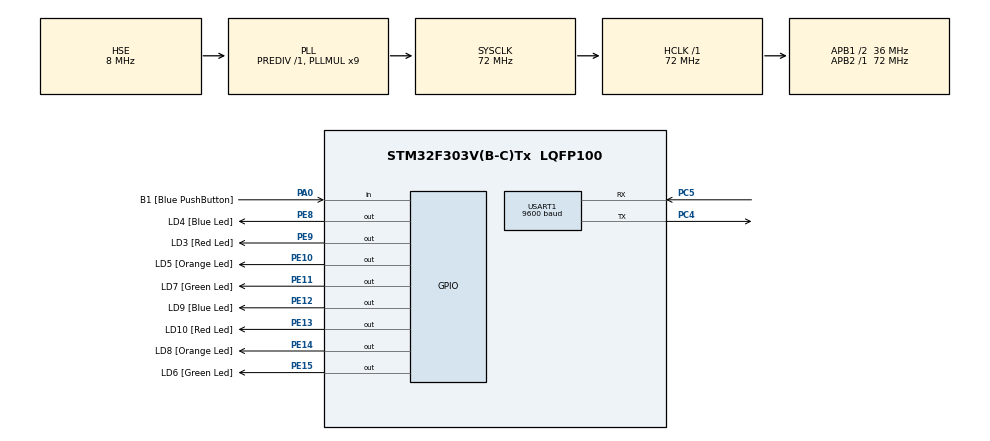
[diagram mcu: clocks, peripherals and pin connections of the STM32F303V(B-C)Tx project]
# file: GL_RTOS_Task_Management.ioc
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Dma.Request0=USART1_TX
Dma.USART1_TX.0.Direction=DMA_MEMORY_TO_PERIPH
Dma.USART1_TX.0.Instance=DMA1_Channel4
Dma.USART1_TX.0.MemDataAlignment=DMA_MDATAALIGN_BYTE
Dma.USART1_TX.0.MemInc=DMA_MINC_ENABLE
Dma.USART1_TX.0.Mode=DMA_NORMAL
Dma.USART1_TX.0.PeriphDataAlignment=DMA_PDATAALIGN_BYTE
Dma.USART1_TX.0.PeriphInc=DMA_PINC_DISABLE
Dma.USART1_TX.0.Priority=DMA_PRIORITY_LOW
FREERTOS.Tasks01=defaultTask,24,128,StartDefaultTask,Default,NULL,Dynamic,NULL,NULL;myT2_GreenLed,8,128,StartT2_GreenLed,Default,NULL,Dynamic,NULL,NULL;myT3_PushButton,8,128,StartT3_PushButton,Default,NULL,Dynamic,NULL,NULL;myT4_OrangeLed,8,128,StartT4_OrangeLed,Default,NULL,Dynamic,NULL,NULL
Mcu.Family=STM32F3
Mcu.Name=STM32F303V(B-C)Tx
Mcu.Package=LQFP100
NVIC.DMA1_Channel4_IRQn=true\:5\:0\:false\:false\:true\:true\:false\:true
NVIC.PriorityGroup=NVIC_PRIORITYGROUP_4
NVIC.TIM7_IRQn=true\:0\:0\:false\:false\:true\:false\:false\:true
NVIC.TimeBase=TIM7_IRQn
NVIC.TimeBaseIP=TIM7
NVIC.USART1_IRQn=true\:5\:0\:false\:false\:true\:true\:true\:true
PA0.GPIO_Label=B1 [Blue PushButton]
PA0.Signal=GPIO_Input
PC4.Mode=Asynchronous
PC4.Signal=USART1_TX
PC5.Mode=Asynchronous
PC5.Signal=USART1_RX
PE10.GPIO_Label=LD5 [Orange Led]
PE10.Signal=GPIO_Output
PE11.GPIO_Label=LD7 [Green Led]
PE11.Signal=GPIO_Output
PE12.GPIO_Label=LD9 [Blue Led]
PE12.Signal=GPIO_Output
PE13.GPIO_Label=LD10 [Red Led]
PE13.Signal=GPIO_Output
PE14.GPIO_Label=LD8 [Orange Led]
PE14.Signal=GPIO_Output
PE15.GPIO_Label=LD6 [Green Led]
PE15.Signal=GPIO_Output
PE8.GPIO_Label=LD4 [Blue Led]
PE8.Signal=GPIO_Output
PE9.GPIO_Label=LD3 [Red Led]
PE9.Signal=GPIO_Output
PF0-OSC_IN.Mode=HSE-External-Oscillator
PF0-OSC_IN.Signal=RCC_OSC_IN
PF1-OSC_OUT.Mode=HSE-External-Oscillator
PF1-OSC_OUT.Signal=RCC_OSC_OUT
ProjectManager.HeapSize=0x200
ProjectManager.StackSize=0x400
ProjectManager.TargetToolchain=MDK-ARM V5.27
RCC.AHBFreq_Value=72000000
RCC.APB1CLKDivider=RCC_HCLK_DIV2
RCC.APB1Freq_Value=36000000
RCC.APB1TimFreq_Value=72000000
RCC.APB2Freq_Value=72000000
RCC.APB2TimFreq_Value=72000000
RCC.CortexFreq_Value=72000000
RCC.HCLKFreq_Value=72000000
RCC.HSE_VALUE=8000000
RCC.HSI_VALUE=8000000
RCC.LSE_VALUE=32768
RCC.PLLMUL=RCC_PLL_MUL9
RCC.PLLSourceVirtual=RCC_PLLSOURCE_HSE
RCC.SYSCLKFreq_VALUE=72000000
RCC.SYSCLKSourceVirtual=RCC_SYSCLKSOURCE_PLLCLK
RCC.USBFreq_Value=72000000
USART1.BaudRate=9600
USART1.VirtualMode-Asynchronous=VM_ASYNC
VP_FREERTOS_VS_CMSIS_V2.Mode=CMSIS_V2
VP_SYS_VS_tim7.Mode=TIM7
board=STM32F3DISCOVERY

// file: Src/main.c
/* USER CODE BEGIN Header */
/**
  ******************************************************************************
  * @file           : main.c
  * @brief          : Main program body
  ******************************************************************************
  * @attention
  *
  * <h2><center>&copy; Copyright (c) 2020 STMicroelectronics.
  * All rights reserved.</center></h2>
  *
  * This software component is licensed by ST under BSD 3-Clause license,
  * the "License"; You may not use this file except in compliance with the
  * License. You may obtain a copy of the License at:
  *                        opensource.org/licenses/BSD-3-Clause
  *
  ******************************************************************************
  */
/* USER CODE END Header */

#include "main.h"
#include "cmsis_os.h"

/* USER CODE BEGIN Includes */
#include "task.h"                       // ARM.FreeRTOS::RTOS:Core
/* USER CODE END Includes */

/* USER CODE BEGIN PD */
uint8_t buffTx[256];
uint16_t len, i;
/* USER CODE END PD */

UART_HandleTypeDef huart1;
DMA_HandleTypeDef hdma_usart1_tx;

osThreadId_t defaultTaskHandle;
osThreadId_t myT2_GreenLedHandle;
osThreadId_t myT3_PushButtonHandle;
osThreadId_t myT4_OrangeLedHandle;

void SystemClock_Config(void);
static void MX_GPIO_Init(void);
static void MX_DMA_Init(void);
static void MX_USART1_UART_Init(void);
void StartDefaultTask(void *argument);
void StartT2_GreenLed(void *argument);
void StartT3_PushButton(void *argument);
void StartT4_OrangeLed(void *argument);

/* USER CODE BEGIN PFP */

/* To use the HOOK function macross configUSE_IDLE_HOOK need to be set '1' in FreeRTOSConfig.h file */
void vApplicationIdleHook( void );

/* USER CODE END PFP */

int main(void)
{

  /* MCU Configuration--------------------------------------------------------*/

  /* Reset of all peripherals, Initializes the Flash interface and the Systick. */
  HAL_Init();

  /* Configure the system clock */
  SystemClock_Config();

  /* Initialize all configured peripherals */
  MX_GPIO_Init();
  MX_DMA_Init();
  MX_USART1_UART_Init();

  osKernelInitialize();

  /* Create the thread(s) */
  /* definition and creation of defaultTask */
//  const osThreadAttr_t defaultTask_attributes = {
//    .name = "defaultTask",
//    .priority = (osPriority_t) osPriorityNormal,
//    .stack_size = 128
//  };
//  defaultTaskHandle = osThreadNew(StartDefaultTask, NULL, &defaultTask_attributes);

  /* definition and creation of myT2_GreenLed */
//  const osThreadAttr_t myT2_GreenLed_attributes = {
//    .name = "myT2_GreenLed",
//    .priority = (osPriority_t) osPriorityLow1,
//    .stack_size = 128
//  };
//  myT2_GreenLedHandle = osThreadNew(StartT2_GreenLed, NULL, &myT2_GreenLed_attributes);

  /* definition and creation of myT3_PushButton */
  const osThreadAttr_t myT3_PushButton_attributes = {
    .name = "myT3_PushButton",
    .priority = (osPriority_t) osPriorityLow1,
    .stack_size = 128
  };
  myT3_PushButtonHandle = osThreadNew(StartT3_PushButton, NULL, &myT3_PushButton_attributes);

  /* Start scheduler */
  osKernelStart();

  /* We should never get here as control is now taken by the scheduler */

  /* Infinite loop */
  while (1)
  {

  }
}

void SystemClock_Config(void)
{
  RCC_OscInitTypeDef RCC_OscInitStruct = {0};
  RCC_ClkInitTypeDef RCC_ClkInitStruct = {0};
  RCC_PeriphCLKInitTypeDef PeriphClkInit = {0};

  /** Initializes the CPU, AHB and APB busses clocks
  */
  RCC_OscInitStruct.OscillatorType = RCC_OSCILLATORTYPE_HSE;
  RCC_OscInitStruct.HSEState = RCC_HSE_ON;
  RCC_OscInitStruct.HSEPredivValue = RCC_HSE_PREDIV_DIV1;
  RCC_OscInitStruct.HSIState = RCC_HSI_ON;
  RCC_OscInitStruct.PLL.PLLState = RCC_PLL_ON;
  RCC_OscInitStruct.PLL.PLLSource = RCC_PLLSOURCE_HSE;
  RCC_OscInitStruct.PLL.PLLMUL = RCC_PLL_MUL9;
  if (HAL_RCC_OscConfig(&RCC_OscInitStruct) != HAL_OK)
  {
    Error_Handler();
  }
  /** Initializes the CPU, AHB and APB busses clocks
  */
  RCC_ClkInitStruct.ClockType = RCC_CLOCKTYPE_HCLK|RCC_CLOCKTYPE_SYSCLK
                              |RCC_CLOCKTYPE_PCLK1|RCC_CLOCKTYPE_PCLK2;
  RCC_ClkInitStruct.SYSCLKSource = RCC_SYSCLKSOURCE_PLLCLK;
  RCC_ClkInitStruct.AHBCLKDivider = RCC_SYSCLK_DIV1;
  RCC_ClkInitStruct.APB1CLKDivider = RCC_HCLK_DIV2;
  RCC_ClkInitStruct.APB2CLKDivider = RCC_HCLK_DIV1;

  if (HAL_RCC_ClockConfig(&RCC_ClkInitStruct, FLASH_LATENCY_2) != HAL_OK)
  {
    Error_Handler();
  }
  PeriphClkInit.PeriphClockSelection = RCC_PERIPHCLK_USART1;
  PeriphClkInit.Usart1ClockSelection = RCC_USART1CLKSOURCE_PCLK2;
  if (HAL_RCCEx_PeriphCLKConfig(&PeriphClkInit) != HAL_OK)
  {
    Error_Handler();
  }
}

static void MX_USART1_UART_Init(void)
{

  huart1.Instance = USART1;
  huart1.Init.BaudRate = 9600;
  huart1.Init.WordLength = UART_WORDLENGTH_8B;
  huart1.Init.StopBits = UART_STOPBITS_1;
  huart1.Init.Parity = UART_PARITY_NONE;
  huart1.Init.Mode = UART_MODE_TX_RX;
  huart1.Init.HwFlowCtl = UART_HWCONTROL_NONE;
  huart1.Init.OverSampling = UART_OVERSAMPLING_16;
  huart1.Init.OneBitSampling = UART_ONE_BIT_SAMPLE_DISABLE;
  huart1.AdvancedInit.AdvFeatureInit = UART_ADVFEATURE_NO_INIT;
  if (HAL_UART_Init(&huart1) != HAL_OK)
  {
    Error_Handler();
  }

}

static void MX_DMA_Init(void)
{

  /* DMA controller clock enable */
  __HAL_RCC_DMA1_CLK_ENABLE();

  /* DMA interrupt init */
  /* DMA1_Channel4_IRQn interrupt configuration */
  HAL_NVIC_SetPriority(DMA1_Channel4_IRQn, 5, 0);
  HAL_NVIC_EnableIRQ(DMA1_Channel4_IRQn);

}

static void MX_GPIO_Init(void)
{
  GPIO_InitTypeDef GPIO_InitStruct = {0};

  /* GPIO Ports Clock Enable */
  __HAL_RCC_GPIOF_CLK_ENABLE();
  __HAL_RCC_GPIOA_CLK_ENABLE();
  __HAL_RCC_GPIOC_CLK_ENABLE();
  __HAL_RCC_GPIOE_CLK_ENABLE();

  /*Configure GPIO pin Output Level */
  HAL_GPIO_WritePin(GPIOE, LD4_Pin|LD3_Pin|LD5_Pin|LD7_Pin
                          |LD9_Pin|LD10_Pin|LD8_Pin|LD6_Pin, GPIO_PIN_RESET);

  /*Configure GPIO pin : B1_Pin */
  GPIO_InitStruct.Pin = B1_Pin;
  GPIO_InitStruct.Mode = GPIO_MODE_INPUT;
  GPIO_InitStruct.Pull = GPIO_NOPULL;
  HAL_GPIO_Init(B1_GPIO_Port, &GPIO_InitStruct);

  /*Configure GPIO pins : LD4_Pin LD3_Pin LD5_Pin LD7_Pin
                           LD9_Pin LD10_Pin LD8_Pin LD6_Pin */
  GPIO_InitStruct.Pin = LD4_Pin|LD3_Pin|LD5_Pin|LD7_Pin
                          |LD9_Pin|LD10_Pin|LD8_Pin|LD6_Pin;
  GPIO_InitStruct.Mode = GPIO_MODE_OUTPUT_PP;
  GPIO_InitStruct.Pull = GPIO_NOPULL;
  GPIO_InitStruct.Speed = GPIO_SPEED_FREQ_LOW;
  HAL_GPIO_Init(GPIOE, &GPIO_InitStruct);

}

/* USER CODE BEGIN 4 */

/*----------------Idle Hook------------------------------------*/
/* Define the variable to be incremented by the hook function. */
unsigned long ulIdleCycleCount = 0UL;

/* Idle hook functions MUST be called vApplicationIdleHook (), not accept
��no parameters, and return void. */
void vApplicationIdleHook (void)
{
	/* This hook function does nothing but increment the counter. */
	ulIdleCycleCount ++;
}

/* USER CODE END 4 */

void StartDefaultTask(void *argument)
{
  /* USER CODE BEGIN 5 */
  for (i=0; i<256; i++) buffTx[i] = i;
  len = sizeof(buffTx);
  HAL_GPIO_TogglePin(GPIOE, GPIO_PIN_8);
  HAL_UART_Transmit_DMA(&huart1, buffTx, len);
  /* Infinite loop */
  for(;;)
  {
    osDelay(1);
  }
  /* USER CODE END 5 */
}

void StartT2_GreenLed(void *argument)
{
  /* USER CODE BEGIN StartT2_GreenLed */
  /* Infinite loop */
  for(;;)
  {
	HAL_GPIO_TogglePin(GPIOE, GPIO_PIN_11);
    //osDelay(1000);

	  /* Delay for a period of time. This delay is created due to using the vTaskDelay () call, which puts the task in state
������Blocked until the expiration of the delay period. The delay period is indicated in 'ticks',
	  but you can use the portTICK_RATE_MS constant to convert (more user-friendly) milliseconds in ticks.
������In my case, the period is 1000 milliseconds = 1s. */
	  vTaskDelay( 1000 / portTICK_RATE_MS );
  }
  /* USER CODE END StartT2_GreenLed */
}

void StartT3_PushButton(void *argument)
{
  /* USER CODE BEGIN StartT3_PushButton */
	unsigned portBASE_TYPE uxPriority;
	uxPriority = uxTaskPriorityGet( NULL );
  /* Infinite loop */
  for(;;)
  {
	if (HAL_GPIO_ReadPin(GPIOA, GPIO_PIN_0)!=GPIO_PIN_RESET)
	{
       /* definition and creation of myT4_OrangeLed */
		const osThreadAttr_t myT4_OrangeLed_attributes = {
		.name = "myT4_OrangeLed",
		.priority = (osPriority_t) osPriorityLow,
		.stack_size = 128
		};
		myT4_OrangeLedHandle = osThreadNew(StartT4_OrangeLed, NULL, &myT4_OrangeLed_attributes);

		/* Change Priority of myT4_OrangeLed task */
		vTaskPrioritySet( myT4_OrangeLedHandle, ( uxPriority + 1 ) );
		HAL_GPIO_TogglePin(GPIOE, GPIO_PIN_13);
	   //vTaskDelete(myT4_OrangeLedHandle);
	   //vTaskDelete(NULL);
	}
    //osDelay(100);
	HAL_GPIO_TogglePin(GPIOE, GPIO_PIN_12);
	vTaskDelay( 100 / portTICK_RATE_MS );
  }
  /* USER CODE END StartT3_PushButton */
}

void StartT4_OrangeLed(void *argument)
{
  /* USER CODE BEGIN StartT4_OrangeLed */
  /* Infinite loop */
	//for(;;)
	//{
	HAL_GPIO_TogglePin(GPIOE, GPIO_PIN_10);
	vTaskDelete(NULL);
    //osDelay(500);
	//  vTaskDelay( 500 / portTICK_RATE_MS );
	//}
  /* USER CODE END StartT4_OrangeLed */
}

void HAL_TIM_PeriodElapsedCallback(TIM_HandleTypeDef *htim)
{
  if (htim->Instance == TIM7) {
    HAL_IncTick();
  }
}

void Error_Handler(void)
{
}

/************************ (C) COPYRIGHT STMicroelectronics *****END OF FILE****/
